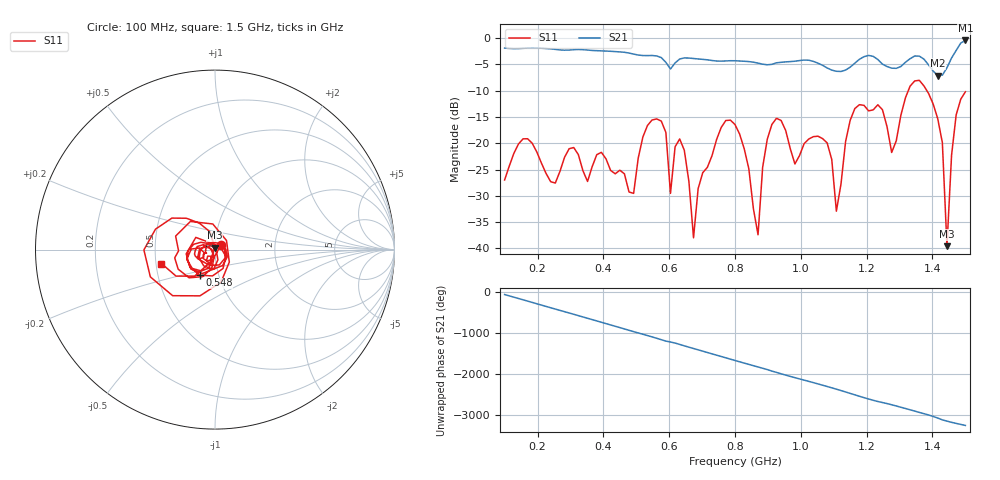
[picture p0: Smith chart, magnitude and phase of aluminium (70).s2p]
! NanoVNA-App
! Date: 2025-09-26 09:58:36
! Start: 100MHz Stop: 1,5GHz Points: 101
! S-Parameter data: F S11 S21 S12 S22
# Hz S RI R 50
!  Frequency  S11_Real  S11_Imag  S21_Real  S21_Imag  S12_Real  S12_Imag  S22_Real  S22_Imag
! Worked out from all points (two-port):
!   101 points, 100 MHz to 1.5 GHz, reference 50 ohm
!   highest |S21| = -0.47 dB at 1.5 GHz (marker M1); lowest = -7.1 dB at 1.416 GHz (marker M2)
!   |S21| within 3 dB of the highest: start of sweep to 564.6 MHz; 1.461 GHz to end of sweep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
!   lowest |S11| = -39.6 dB at 1.444 GHz (marker M3), VSWR 1.02, Z = 49.7 + j1.01 ohm
!   |S11| at or under -10 dB: start of sweep to 1.327 GHz; 1.383 GHz to end of sweep
!   S12 and S22 are empty: the file has one direction only
!   S11 on the Smith chart (normalised r, x): 100 MHz: 1.07, +0.06; 548 MHz: 0.81, -0.24; 1.5 GHz: 0.53, -0.09
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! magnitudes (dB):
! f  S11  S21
! 100 MHz  -27.0  -1.9
! 338 MHz  -25.2  -2.2
! 492 MHz  -29.5  -3.1
! 548 MHz  -15.6  -3.3
! 576 MHz  -15.8  -3.7
! 604 MHz  -29.5  -5.9
! 646 MHz  -21.3  -3.8
! 674 MHz  -38.0  -3.9
! 702 MHz  -25.6  -4.1
! 800 MHz  -16.5  -4.3
! 870 MHz  -37.4  -4.8
! 912 MHz  -16.4  -5.0
! 1.038 GHz  -18.8  -4.4
! 1.108 GHz  -32.9  -6.3
! 1.164 GHz  -13.4  -4.8
! 1.276 GHz  -21.8  -5.7
! 1.346 GHz  -8.2  -3.4
! 1.416 GHz  -15.3  -7.1
! 1.43 GHz  -19.9  -7.1
! 1.444 GHz  -39.6  -5.7
! 1.472 GHz  -14.6  -2.4
! 1.5 GHz  -10.2  -0.5
